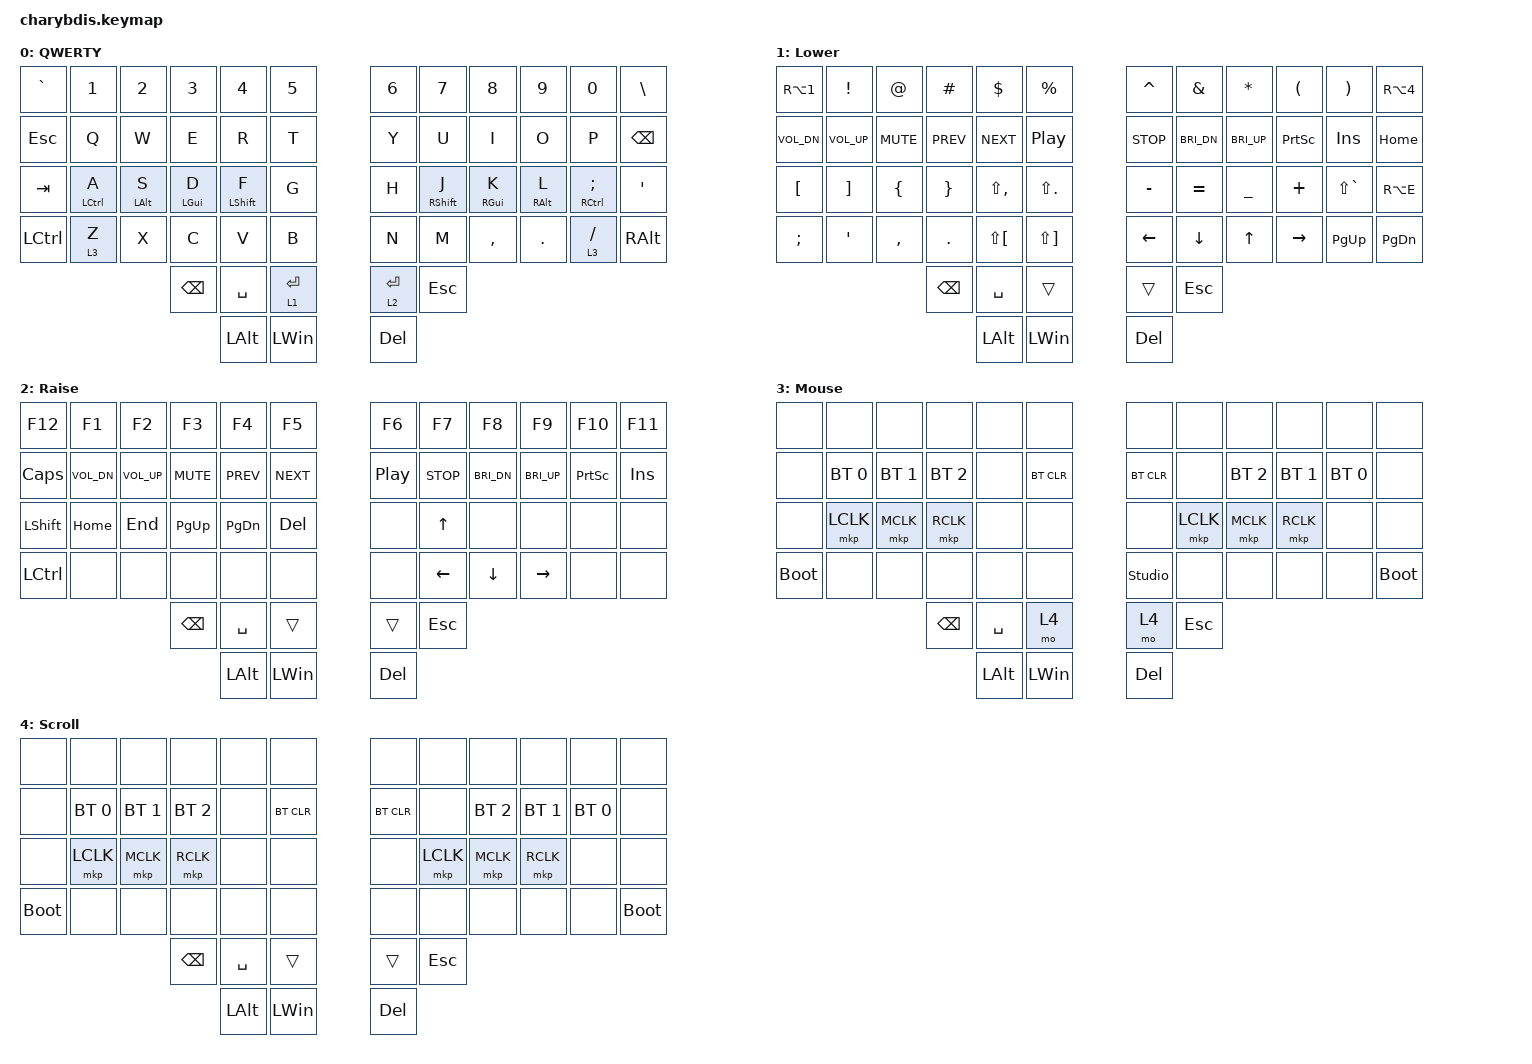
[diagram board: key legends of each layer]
#include <behaviors.dtsi>
#include <dt-bindings/zmk/bt.h>
#include <dt-bindings/zmk/keys.h>
#include <dt-bindings/zmk/pointing.h>
#include <dt-bindings/zmk/rgb.h>

&lt {
    tapping-term-ms = <220>;
    flavor = "balanced";
    quick-tap-ms = <150>;
};

&mt {
    tapping-term-ms = <220>;
    flavor = "balanced";
    quick-tap-ms = <150>;
};

/* Spanish QWERTY notes (layout-dependent):
 * - SEMICOLON  -> ñ  (Ñ with Shift)  [es-LA]
 * - APOS       -> ´  (dead key)       [es-ES]
 * - LS(COMMA)  -> ;
 * - LS(DOT)    -> :
 * - LS(GRAVE)  -> ª  (es-ES) or ° (es-LA)
 * - LS(LBKT)   -> ?  (es-ES)
 * - LS(RBKT)   -> ¿  (es-ES)
 * - RA(E)      -> €
 * - RA(N1)     -> |  (es-ES)
 * - RA(N4)     -> ~  (es-ES)
 */

/ {
    macros {
        To1_macro: To1_macro {
            compatible = "zmk,behavior-macro";
            label = "To1_macro";
            #binding-cells = <0>;
            bindings = <&rgb_ug RGB_EFF &rgb_ug RGB_COLOR_HSB(128,100,50) &to 1>;
        };

        To0_macro: To0_macro {
            compatible = "zmk,behavior-macro";
            label = "To0_macro";
            #binding-cells = <0>;
            bindings = <&rgb_ug RGB_EFR &to 0>;
        };

        To2_macro: To2_macro {
            compatible = "zmk,behavior-macro";
            label = "To2_macro";
            #binding-cells = <0>;
            bindings =
                <&to 2>,
                <&macro_wait_time 30>,
                <&rgb_ug RGB_COLOR_HSB(250,100,50)>;
        };
    };

    keymap {
        compatible = "zmk,keymap";

        QWERTY {
            bindings = <
&kp GRAVE       &kp N1   &kp N2  &kp N3        &kp N4        &kp N5          &kp N6       &kp N7         &kp N8     &kp N9   &kp N0       &kp BACKSLASH
&kp ESC         &kp Q    &kp W   &kp E         &kp R         &kp T           &kp Y        &kp U          &kp I      &kp O    &kp P        &kp BACKSPACE
&kp TAB         &mt LCTRL A  &mt LALT S  &mt LGUI D  &mt LSHFT F  &kp G        &kp H       &mt RSHFT J   &mt RGUI K  &mt RALT L  &mt RCTRL SEMI  &kp APOS
 &kp LCTRL       &lt 3 Z  &kp X   &kp C         &kp V         &kp B           &kp N        &kp M          &kp COMMA  &kp DOT  &lt 3 SLASH  &kp RIGHT_ALT
                                  &kp BACKSPACE  &kp SPACE     &lt 1 ENTER     &lt 2 ENTER  &kp ESCAPE
                                                &kp LEFT_ALT  &kp LEFT_WIN    &kp DELETE
            >;
        };

        Lower {
            bindings = <
&kp RA(N1)      &kp EXCLAMATION  &kp AT_SIGN   &kp HASH      &kp DOLLAR      &kp PERCENT     &kp CARET      &kp AMPERSAND    &kp ASTERISK    &kp LEFT_PARENTHESIS  &kp RIGHT_PARENTHESIS  &kp RA(N4)
&kp C_VOL_DN    &kp C_VOL_UP     &kp C_MUTE    &kp C_PREV    &kp C_NEXT      &kp C_PP        &kp C_STOP     &kp C_BRI_DN     &kp C_BRI_UP    &kp PRINTSCREEN       &kp INSERT             &kp HOME
&kp LBKT        &kp RBKT         &kp LBRC      &kp RBRC      &kp LS(COMMA)  &kp LS(DOT)     &kp MINUS      &kp EQUAL        &kp UNDERSCORE  &kp PLUS              &kp LS(GRAVE)          &kp RA(E)
&kp SEMICOLON   &kp APOS         &kp COMMA     &kp DOT       &kp LS(LBKT)    &kp LS(RBKT)    &kp LEFT       &kp DOWN         &kp UP          &kp RIGHT             &kp PAGE_UP            &kp PAGE_DOWN
                                           &kp BACKSPACE  &kp SPACE     &trans         &trans         &kp ESCAPE
                                                         &kp LEFT_ALT   &kp LEFT_WIN   &kp DELETE
            >;
        };

        Raise {
            bindings = <
&kp F12        &kp F1      &kp F2      &kp F3         &kp F4         &kp F5          &kp F6             &kp F7         &kp F8    &kp F9     &kp F10  &kp F11
&kp CAPSLOCK   &kp C_VOL_DN &kp C_VOL_UP &kp C_MUTE    &kp C_PREV     &kp C_NEXT      &kp C_PP           &kp C_STOP     &kp C_BRI_DN  &kp C_BRI_UP  &kp PRINTSCREEN  &kp INSERT
&kp LSHFT      &kp HOME     &kp END      &kp PG_UP     &kp PG_DN      &kp DEL         &none              &kp UP         &none         &none         &none     &none
&kp LCTRL      &none        &none        &none         &none          &none           &none              &kp LEFT       &kp DOWN      &kp RIGHT     &none     &none
                                       &kp BACKSPACE  &kp SPACE      &trans          &trans             &kp ESCAPE
                                                      &kp LEFT_ALT   &kp LEFT_WIN    &kp DELETE
            >;
        };

        Mouse {
            bindings = <
&none        &none         &none         &none         &none      &none         &none           &none      &none         &none         &none         &none
&none        &bt BT_SEL 0  &bt BT_SEL 1  &bt BT_SEL 2  &none      &bt BT_CLR    &bt BT_CLR      &none      &bt BT_SEL 2  &bt BT_SEL 1  &bt BT_SEL 0  &none
&none        &mkp LCLK     &mkp MCLK     &mkp RCLK     &none      &none         &none           &mkp LCLK  &mkp MCLK     &mkp RCLK     &none         &none
&bootloader  &none         &none         &none         &none      &none         &studio_unlock  &none      &none         &none         &none         &bootloader
                                         &kp BACKSPACE  &kp SPACE  &mo 4         &mo 4           &kp ESCAPE
                                                       &kp LEFT_ALT &kp LEFT_WIN  &kp DELETE
            >;
        };

        Scroll {
            bindings = <
&none        &none         &none         &none         &none      &none         &none       &none      &none         &none         &none         &none
&none        &bt BT_SEL 0  &bt BT_SEL 1  &bt BT_SEL 2  &none      &bt BT_CLR    &bt BT_CLR  &none      &bt BT_SEL 2  &bt BT_SEL 1  &bt BT_SEL 0  &none
&none        &mkp LCLK     &mkp MCLK     &mkp RCLK     &none      &none         &none       &mkp LCLK  &mkp MCLK     &mkp RCLK     &none         &none
&bootloader  &none         &none         &none         &none      &none         &none       &none      &none         &none         &none         &bootloader
                                         &kp BACKSPACE  &kp SPACE  &trans        &trans      &kp ESCAPE
                                                       &kp LEFT_ALT &kp LEFT_WIN  &kp DELETE
            >;
        };
    };
};
